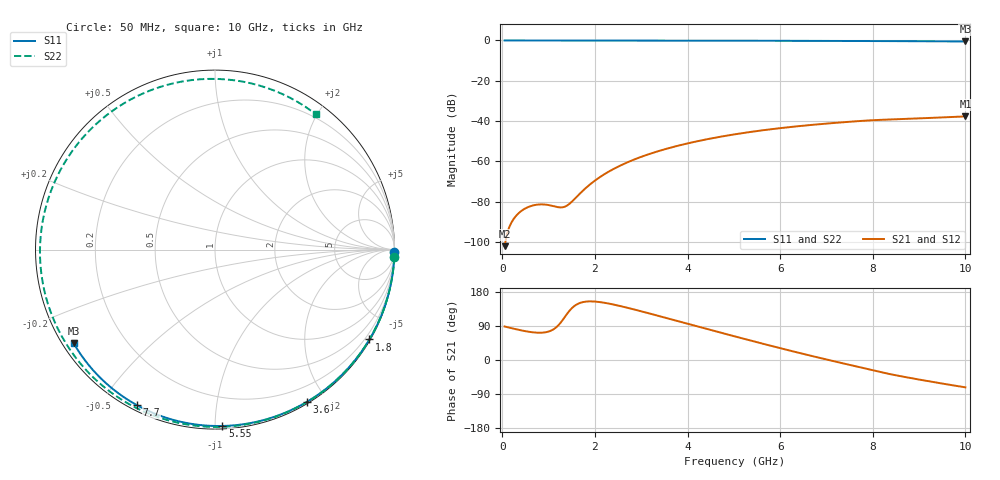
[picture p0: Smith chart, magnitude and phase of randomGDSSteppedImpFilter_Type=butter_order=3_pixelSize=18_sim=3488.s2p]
! freq	dB(S11)	phase(S11)	dB(S12)	phase(S12)
!  dB(S21)	phase(S21)	dB(S22)	phase(S22)
!S-par simulation data
#  GHz  S  DB  R 50
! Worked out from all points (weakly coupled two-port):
!   200 points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, 50 MHz to 10 GHz, reference 50 ohm
!   highest |S21| = -37.73 dB at 10 GHz (marker M1); lowest = -102.2 dB at 50 MHz (marker M2)
!   lowest |S11| = -0.5 dB at 10 GHz (marker M3), VSWR 35.15, Z = 1.55 - j15.1 ohm
!   |S11| at or under -10 dB: nowhere
!   |S22| runs from -0.5 to 0.0 dB; largest |S21 - S12| = 0
!   S11 on the Smith chart (normalised r, x): 50 MHz: open; 1.8 GHz: 0.03, -3.71; 3.6 GHz: 0.02, -1.77; 5.55 GHz: 0.02, -1.04; 7.7 GHz: 0.02, -0.62; 10 GHz: 0.03, -0.30
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0.05  -0.00 -0.9  -102.16 88.5  -102.16 88.5  -0.00 -2.3
0.35  -0.01 -6.0  -85.84 79.7  -85.84 79.7  -0.02 -15.7
0.7  -0.02 -11.9  -81.74 72.6  -81.74 72.6  -0.04 -31.0
1.1  -0.02 -18.6  -82.25 80.5  -82.25 80.5  -0.06 -48.1
1.5  -0.03 -25.2  -80.10 136.5  -80.10 136.5  -0.08 -64.3
1.75  -0.04 -29.3  -74.39 153.0  -74.39 153.0  -0.09 -74.0
1.8  -0.04 -30.2  -73.34 154.0  -73.34 154.0  -0.09 -75.9
2.1  -0.05 -35.1  -67.97 152.9  -67.97 152.9  -0.10 -86.9
2.45  -0.05 -40.7  -63.25 145.1  -63.25 145.1  -0.11 -99.2
2.9  -0.06 -47.9  -58.66 131.7  -58.66 131.7  -0.13 -114.0
3.4  -0.07 -55.7  -54.76 115.5  -54.76 115.5  -0.14 -129.3
3.6  -0.08 -58.8  -53.44 108.9  -53.44 108.9  -0.15 -135.2
4.3  -0.10 -69.4  -49.62 85.8  -49.62 85.8  -0.17 -154.7
5.05  -0.12 -80.4  -46.50 61.3  -46.50 61.3  -0.21 -174.4
5.55  -0.14 -87.6  -44.83 45.4  -44.83 45.4  -0.23 172.8
6.1  -0.17 -95.2  -43.28 28.2  -43.28 28.2  -0.26 159.0
6.7  -0.20 -103.4  -41.89 10.1  -41.89 10.1  -0.30 143.8
7.7  -0.27 -116.7  -40.03 -18.6  -40.03 -18.6  -0.36 117.8
8.35  -0.32 -125.2  -39.28 -36.7  -39.28 -36.7  -0.41 100.3
9.15  -0.40 -135.5  -38.56 -54.8  -38.56 -54.8  -0.47 77.9
9.55  -0.44 -140.7  -38.16 -63.2  -38.16 -63.2  -0.50 66.5
10  -0.49 -146.5  -37.73 -72.2  -37.73 -72.2  -0.54 53.4
